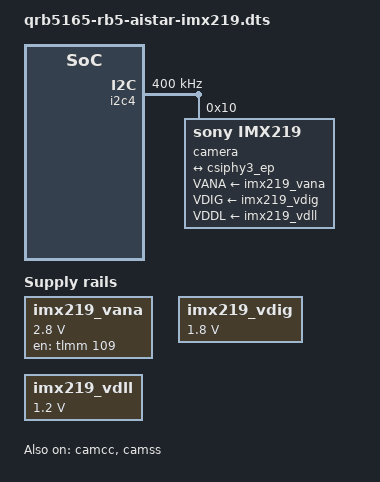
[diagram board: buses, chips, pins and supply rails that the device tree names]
// SPDX-License-Identifier: BSD-3-Clause
/*
 * Copyright (c) 2023, Linaro Ltd.
 */

/dts-v1/;

#include "qrb5165-rb5.dts"

/ {
	/*
	 * RPi v2 camera has on-board regulators with common enable.
	 * We use CSI[01]_PWDN (LS connector pins 32 and 34) to control
	 * this input.
	 */
	imx219_vana: imx219_vana {
		compatible = "regulator-fixed";
		regulator-name = "imx219_vana";
		regulator-min-microvolt = <2800000>;
		regulator-max-microvolt = <2800000>;
		gpio = <&tlmm 109 GPIO_ACTIVE_HIGH>; /* LS conn CSI1_PWDN */
		enable-active-high;
	};
	imx219_vdig: imx219_vdig {
		compatible = "regulator-fixed";
		regulator-name = "imx219_vdig";
		regulator-min-microvolt = <1800000>;
		regulator-max-microvolt = <1800000>;
		regulator-always-on;
	};
	imx219_vdll: imx219_vdll {
		compatible = "regulator-fixed";
		regulator-name = "imx219_vdll";
		regulator-min-microvolt = <1200000>;
		regulator-max-microvolt = <1200000>;
		regulator-always-on;
	};

	clocks {
		imx219_clk: camera-clk0 {
			compatible = "fixed-clock";
			#clock-cells = <0>;
			clock-frequency = <24000000>;
			status = "okay";
		};
	};
};

&camcc {
	status = "okay";
};

&camss {
	vdda-phy-supply = <&vreg_l5a_0p88>;
	vdda-pll-supply = <&vreg_l9a_1p2>;
	status = "okay";

	ports {
		/* The port index denotes CSIPHY id i.e. csiphy0 */
#if 0
		port@0 {
			csiphy0_ep: endpoint {
				clock-lanes = <7>;
				data-lanes = <0 1>;
				remote-endpoint = <&imx219_ep1>;
			};
		};
#endif
		port@3 {
			reg = <3>;
			csiphy3_ep: endpoint {
				clock-lanes = <7>;
				data-lanes = <0 1>;
				remote-endpoint = <&imx219_ep2>;
				status = "okay";
			};
		};
	};
};

#if 0
&cci0 {
	status = "okay";
	assigned-clocks = <&camcc CAM_CC_CCI_0_CLK>,
			  <&camcc CAM_CC_CCI_0_CLK_SRC>;
	assigned-clock-rates = <37500000>,
			       <37500000>;
};

&cci0_i2c0 {
	clock-frequency = <400000>;

	camera@10 {
		compatible = "sony,imx219";
		reg = <0x10>;

		reset-gpios = <&tlmm 93 GPIO_ACTIVE_HIGH>; /* LS1/CAM0_RST_N */
		pinctrl-names = "default";
//		pinctrl-names = "default", "suspend";
		pinctrl-0 = <&cam_sensor_active_rear>;
//		pinctrl-1 = <&cam_sensor_suspend_rear>;

		clocks = <&clk_24mhz>;

		VANA-supply = <&cam_dummy_reg>;	/* 2.8v */
		VDIG-supply = <&cam_dummy_reg>;	/* 1.8v */
		VDDL-supply = <&cam_dummy_reg>;	/* 1.2v */

		port {
			imx219_ep1: endpoint {
				remote-endpoint = <&csiphy0_ep>;
				data-lanes = <1 2>;
				clock-noncontinuous;
				link-frequencies = /bits/ 64 <456000000>;
			};
		};
	};
};
#endif

&tlmm {
	cam_sensor_active_rear_aux: cam_sensor_active_rear_aux {
		/* RESET REARAUX */
		mux {
			pins = "gpio92";
			function = "gpio";
		};
		config {
			pins = "gpio92";
			bias-disable; /* No PULL */
			drive-strength = <2>; /* 2 MA */
		};
	};
	cam_sensor_suspend_rear_aux: cam_sensor_suspend_rear_aux {
		/* RESET REARAUX */
		mux {
			pins = "gpio92";
			function = "gpio";
		};
		config {
			pins = "gpio92";
			bias-pull-down; /* PULL DOWN */
			drive-strength = <2>; /* 2 MA */
			output-low;
		};
	};
};

&i2c4 {
	status = "okay";
	clock-frequency = <400000>;

	camera@10 {
		compatible = "sony,imx219";
		reg = <0x10>;

		pinctrl-names = "default", "suspend";
		pinctrl-0 = <&cam_sensor_active_rear_aux>;
		pinctrl-1 = <&cam_sensor_suspend_rear_aux>;

		clocks = <&imx219_clk>;
		clock-names = "xclk";

		VANA-supply = <&imx219_vana>; /* 2.8v */
		VDIG-supply = <&imx219_vdig>; /* 1.8v */
		VDDL-supply = <&imx219_vdll>; /* 1.2v */

		port {
			imx219_ep2: endpoint {
				remote-endpoint = <&csiphy3_ep>;
				data-lanes = <1 2>;
				clock-noncontinuous;
				link-frequencies = /bits/ 64 <456000000>;
			};
		};
	};
};
